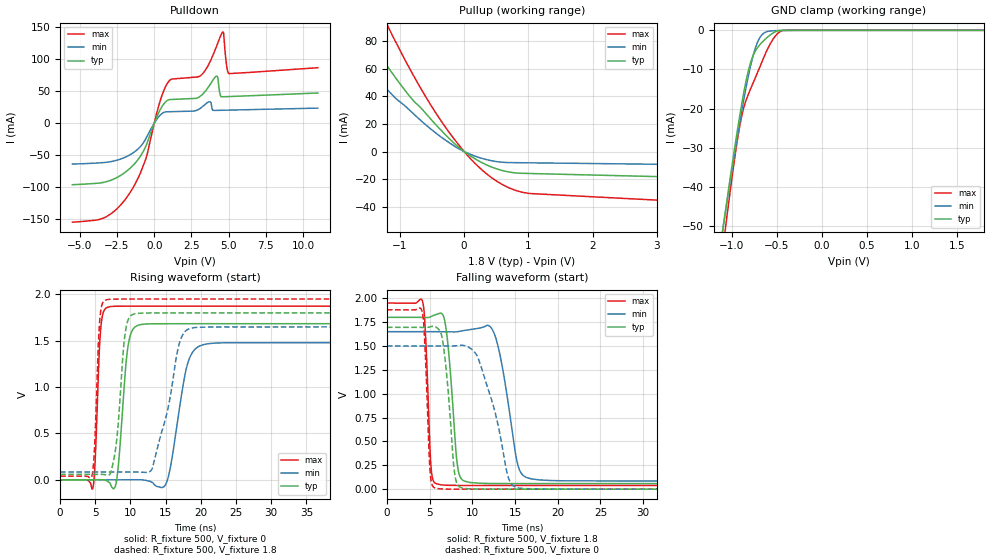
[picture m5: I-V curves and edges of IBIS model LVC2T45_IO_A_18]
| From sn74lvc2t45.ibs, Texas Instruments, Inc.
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[Model]   LVC2T45_IO_A_18
Model_type  I/O
Vinl=0.5775
Vinh=1.2675
Enable   Active-Low
Vref =   0
Rref =   2000
Cref =   15p
Vmeas =   0.9
| variable   typ   min   max
C_comp   6.69pF   5.95pF   7.53pF
| C_pullup   9.34pF   7.11pF   10.39pF
| C_pulldown   10.47pF   7.42pF   15.04pF
| C_tri-state   6.69pF   5.95pF   7.53pF
[Temperature Range]   40   100   -40
| Ambient temperature   25   85   -40
[Voltage range]   1.8   1.65   1.95
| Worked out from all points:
|   slope of the pulldown table from 0 to 0.27 V, typ, clamps not added: 18.1 ohm
|   slope of the pullup table from 0 to 0.27 V, typ, clamps not added: 34.2 ohm
|   GND clamp passes 1 mA (typ) near -0.56 V on its own axis
|   rising waveform, R_fixture 500, V_fixture 0: 20-80 % time 1.01ns typ, 1.86ns min, 575ps max; typ from 0 V to 1.68 V
|   falling waveform, R_fixture 500, V_fixture 1.8: 20-80 % time 862ps typ, 1.62ns min, 497ps max; typ from 1.8 V to 0.058 V
|   rising waveform, R_fixture 500, V_fixture 1.8: 20-80 % time 1.04ns typ, 2.54ns min, 567ps max; typ from 0.058 V to 1.8 V
|   falling waveform, R_fixture 500, V_fixture 0: 20-80 % time 917ps typ, 2.47ns min, 490ps max; typ from 1.7 V to 0 V
[GND Clamp]
| LVC2T45_IO_A_18
|   Voltage   I(typ)   I(min)   I(max)
-5.5V     -897.8mA   -832.4mA   -1.016A
-1.11V    -52.82mA   -52.44mA   -57.96mA
-1.08V    -47.86mA   -47.85mA   -52.38mA
-1.05V    -42.97mA   -43.33mA   -46.9mA
-915mV    -22.35mA   -24.01mA   -24.95mA
-835mV    -12.29mA   -13.87mA   -17.5mA
-785mV    -7.843mA   -8.49mA    -14.64mA
-735mV    -5.197mA   -4.32mA    -11.95mA
-645mV    -2.635mA   -747.2uA   -6.981mA
-530mV    -538.4uA   -106uA     -1.891mA
-425mV    -4.773uA   -33.06uA   -14.75uA
1.8V      20.52pA    25.62nA    332.2pA
[Pulldown]
| LVC2T45_IO_A_18
|   Voltage   I(typ)   I(min)   I(max)
-5.5V     -96.03mA   -63.8mA    -154.5mA
-3.435V   -92.52mA   -61.5mA    -148.2mA
-2.01V    -77.66mA   -53.7mA    -120.8mA
-595mV    -37.48mA   -25.57mA   -57.72mA
285mV     15.7mA     9.56mA     25.86mA
850mV     35mA       17.81mA    60.93mA
3.185V    43.69mA    24.68mA    75.57mA
3.745V    59.94mA    33.33mA    95.67mA
4.2V      73.52mA    20mA       120.7mA
4.605V    41.29mA    20.2mA     142.1mA
5.01V     41.55mA    20.42mA    77.37mA
11V       47.14mA    23.52mA    86.61mA
[Pullup]
| LVC2T45_IO_A_18
|   Voltage   I(typ)   I(min)   I(max)
-5.5V     439.8mA    327.6mA    621.9mA
-2.005V   121.1mA    90.54mA    175.9mA
-1.595V   89.88mA    66.36mA    131.7mA
-1.18V    60.9mA     44.19mA    90.32mA
-825mV    38.86mA    29.01mA    58.29mA
-560mV    25.71mA    17.93mA    36.87mA
-25mV     881.5uA    578.3uA    1.394mA
220mV     -6.632mA   -4.15mA    -10.87mA
470mV     -11.98mA   -7.047mA   -20.34mA
710mV     -14.96mA   -8.027mA   -26.56mA
945mV     -15.85mA   -8.155mA   -29.92mA
11V       -27.22mA   -13.35mA   -54.55mA
[Ramp]
| LVC2T45_IO_A_18
| variable   typ   min   max
dV/dt_r   1.07/1.06E-09   0.94/1.95E-09   1.18/6.06E-10
dV/dt_f   1.07/8.92E-10   0.98/1.71E-09   1.17/5.13E-10
R_load = 500
[Rising Waveform]
| LVC2T45_IO_A_18
R_fixture =   500
C_fixture =   0
L_fixture =   0
V_fixture =   0
V_fixture_min = 0
V_fixture_max = 0
|   Time   V(typ)   V(min)   V(max)
0s        144.7pV    8.342nV    2.72nV
4.655ns   -23.53uV   -3.853uV   -89.01mV
5.73ns    991.5uV    4.47uV     1.594V
6.665ns   -12.31mV   -4.444uV   1.859V
7.97ns    -30.51mV   -14.79uV   1.872V
9.56ns    1.394V     584.3uV    1.873V
10.87ns   1.661V     674.2uV    1.873V
15.06ns   1.684V     -42.58mV   1.873V
19.78ns   1.684V     1.442V     1.873V
50ns      1.684V     1.48V      1.873V
[Falling Waveform]
| LVC2T45_IO_A_18
R_fixture =   500
C_fixture =   0
L_fixture =   0
V_fixture =   1.8
V_fixture_min = 1.65
V_fixture_max = 1.95
|   Time   V(typ)   V(min)   V(max)
0s        1.8V       1.65V      1.95V
4.17ns    1.799V     1.65V      1.966V
5.145ns   1.807V     1.65V      253.8mV
5.785ns   1.831V     1.65V      57.18mV
6.825ns   1.737V     1.649V     42.06mV
8.215ns   273.8mV    1.649V     39.49mV
9.07ns    84.3mV     1.663V     39.2mV
12.51ns   59.33mV    1.641V     39.04mV
16.33ns   58.41mV    122.3mV    39.03mV
50ns      58.33mV    84.49mV    39.02mV
[Rising Waveform]
| LVC2T45_IO_A_18
R_fixture =   500
C_fixture =   0
L_fixture =   0
V_fixture =   1.8
V_fixture_min = 1.65
V_fixture_max = 1.95
|   Time   V(typ)   V(min)   V(max)
0s        58.31mV    84.44mV    39.01mV
4.53ns    58.3mV     84.44mV    45.45mV
5.605ns   58.94mV    84.45mV    1.698V
6.4ns     54.59mV    84.44mV    1.937V
7.73ns    260.5mV    84.45mV    1.95V
9.185ns   1.548V     84.69mV    1.95V
10.26ns   1.782V     84.33mV    1.95V
13.08ns   1.8V       119.9mV    1.95V
18.17ns   1.8V       1.624V     1.95V
50ns      1.8V       1.65V      1.95V
[Falling Waveform]
| LVC2T45_IO_A_18
R_fixture =   500
C_fixture =   0
L_fixture =   0
V_fixture =   0
V_fixture_min = 0
V_fixture_max = 0
|   Time   V(typ)   V(min)   V(max)
0s        1.695V     1.5V       1.879V
4.1ns     1.694V     1.5V       1.867V
5.035ns   1.7V       1.5V       206.8mV
5.585ns   1.704V     1.5V       14.04mV
6.525ns   1.552V     1.499V     2.13mV
7.885ns   194.5mV    1.501V     271.8uV
8.625ns   17.37mV    1.508V     116.1uV
10.71ns   1.099mV    1.365V     33.25uV
15.05ns   59.82uV    21.62mV    23.15uV
50ns      18.17uV    34.81uV    9.823uV
